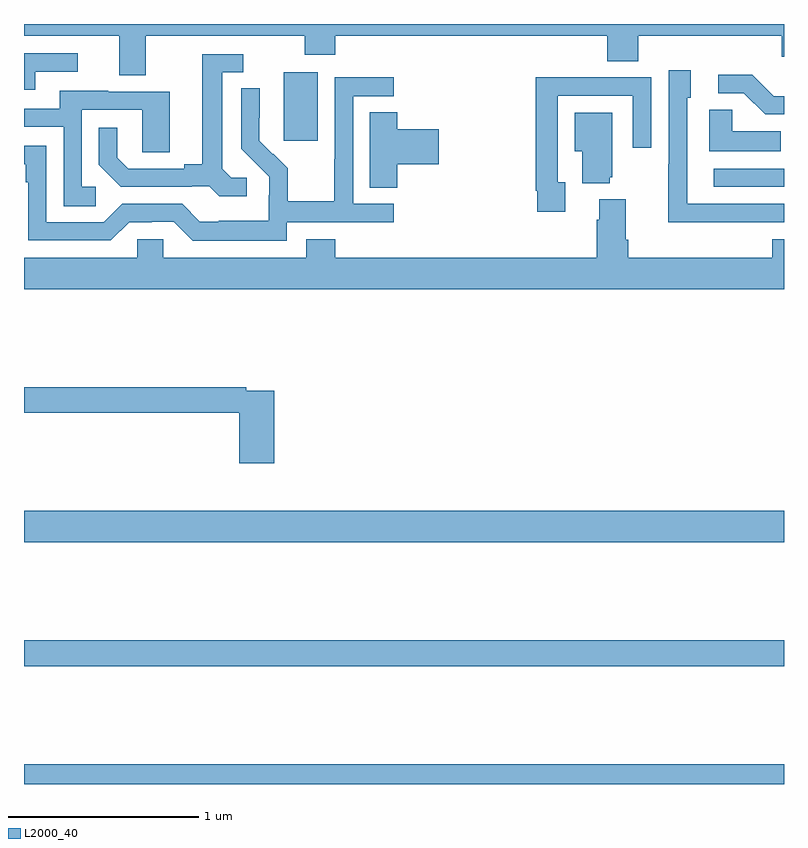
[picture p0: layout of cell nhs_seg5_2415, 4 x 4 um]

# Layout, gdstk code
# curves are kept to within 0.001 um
import gdstk
lib = gdstk.Library(unit=1e-6, precision=1e-09)
def R(c, l, rs):  # rectangles x0, y0, x1, y1
    for r in rs: c.add(gdstk.rectangle(r[:2], r[2:], *l))
def P(c, l, *ps):  # polygons
    for p in ps: c.add(gdstk.Polygon(p, *l))
L2000_40 = (2000, 40)

nhs_seg5_2415 = lib.new_cell('nhs_seg5_2415')
R(nhs_seg5_2415, L2000_40, [(251,876.799,255,876.904), (251,877.42,255,877.556), (251,878.072,255,878.236), (254.631,879.942,255,880.038), (252.368,880.185,252.547,880.546)])
P(nhs_seg5_2415, L2000_40, [(251.641,880.736),(252.478,880.736),(252.478,880.637),(252.638,880.637),(252.638,880.736),(254.069,880.736),(254.069,880.603),(254.234,880.603),(254.234,880.736),(254.987,880.736),(254.987,880.627),(255,880.627),(255,880.799),(251,880.799),(251,880.736),(251.501,880.736),(251.501,880.528),(251.641,880.528)],
  [(251.059,880.548),(251.284,880.548),(251.284,880.644),(251,880.644),(251,880.452),(251.059,880.452)],
  [(252.172,879.99),(252.09,879.99),(252.043,880.037),(252.043,880.545),(252.154,880.545),(252.154,880.641),(251.939,880.641),(251.939,880.061),(251.843,880.061),(251.843,880.038),(251.548,880.038),(251.491,880.095),(251.491,880.252),(251.394,880.252),(251.394,880.058),(251.51,879.942),(251.882,879.942),(251.882,879.945),(251.976,879.945),(252.028,879.893),(252.172,879.893)],
  [(254.855,879.756),(255,879.756),(255,879.852),(254.49,879.852),(254.49,880.41),(254.509,880.41),(254.509,880.555),(254.394,880.555),(254.394,880.061),(254.392,880.061),(254.392,879.755),(254.855,879.755)],
  [(255,880.419),(254.946,880.419),(254.833,880.532),(254.655,880.532),(254.655,880.434),(254.789,880.434),(254.9,880.323),(255,880.323)],
  [(253.849,879.966),(253.809,879.966),(253.809,880.422),(254.205,880.422),(254.205,880.149),(254.301,880.149),(254.301,880.518),(253.985,880.518),(253.985,880.52),(253.693,880.52),(253.693,879.922),(253.701,879.922),(253.701,879.81),(253.849,879.81)],
  [(252.384,879.756),(252.946,879.756),(252.946,879.852),(252.732,879.852),(252.732,880.419),(252.946,880.419),(252.946,880.518),(252.636,880.518),(252.636,880.088),(252.634,880.088),(252.634,879.865),(252.389,879.865),(252.389,880.039),(252.312,880.116),(252.309,880.113),(252.239,880.184),(252.24,880.46),(252.144,880.46),(252.144,880.142),(252.29,879.994),(252.29,879.897),(252.288,879.897),(252.288,879.763),(252.025,879.763),(252.025,879.759),(251.925,879.759),(251.832,879.852),(251.517,879.852),(251.421,879.756),(251.118,879.756),(251.118,880.158),(251,880.158),(251,880.062),(251.009,880.062),(251.009,879.965),(251.022,879.965),(251.022,879.66),(251.457,879.66),(251.553,879.756),(251.672,879.756),(251.672,879.759),(251.787,879.759),(251.887,879.659),(252.384,879.659)],
  [(251.377,879.942),(251.304,879.942),(251.304,880.347),(251.622,880.347),(251.622,880.123),(251.767,880.123),(251.767,880.443),(251.443,880.443),(251.443,880.447),(251.189,880.447),(251.189,880.353),(251,880.353),(251,880.257),(251.208,880.257),(251.208,879.841),(251.377,879.841)],
  [(254.984,880.234),(254.727,880.234),(254.727,880.349),(254.606,880.349),(254.606,880.13),(254.984,880.13)],
  [(252.965,880.061),(253.183,880.061),(253.183,880.244),(252.965,880.244),(252.965,880.334),(252.821,880.334),(252.821,879.937),(252.965,879.937)],
  [(254.084,879.993),(254.095,879.993),(254.095,880.333),(253.898,880.333),(253.898,880.13),(253.937,880.13),(253.937,879.962),(254.084,879.962)],
  [(255,879.667),(254.939,879.667),(254.939,879.568),(254.18,879.568),(254.18,879.664),(254.167,879.664),(254.167,879.877),(254.027,879.877),(254.027,879.77),(254.015,879.77),(254.015,879.568),(252.638,879.568),(252.638,879.667),(252.485,879.667),(252.485,879.568),(251.733,879.568),(251.733,879.666),(251.595,879.666),(251.595,879.568),(251,879.568),(251,879.404),(255,879.404)],
  [(252.317,878.868),(252.17,878.868),(252.17,878.888),(251,878.888),(251,878.752),(252.134,878.752),(252.134,878.487),(252.317,878.487)])

lib.write_gds('nhs_seg5_2415.gds')
